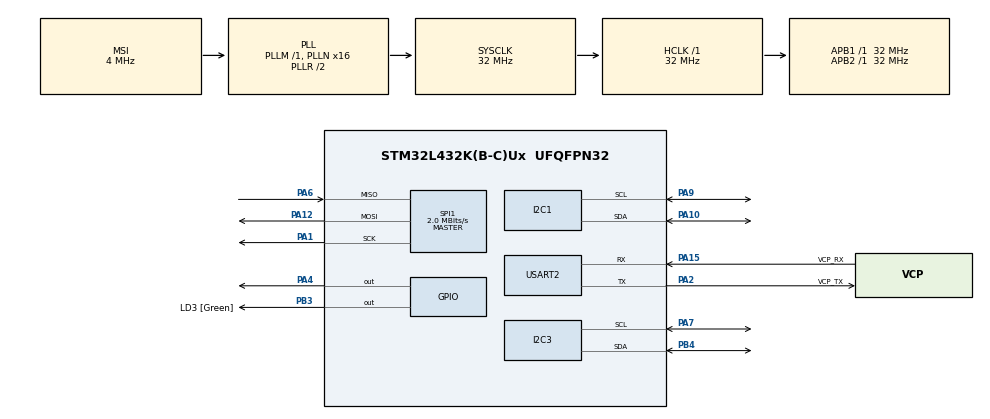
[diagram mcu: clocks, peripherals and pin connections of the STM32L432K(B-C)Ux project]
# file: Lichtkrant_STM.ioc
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I2C1.Timing=0x00B07CB4
I2C3.Timing=0x00B07CB4
Mcu.Family=STM32L4
Mcu.Name=STM32L432K(B-C)Ux
Mcu.Package=UFQFPN32
NVIC.PriorityGroup=NVIC_PRIORITYGROUP_4
PA0.GPIO_Label=MCO [High speed clock in]
PA0.Mode=HSE-External-Clock-Source-for-LittleOrca
PA0.Signal=RCC_CK_IN
PA1.Mode=Full_Duplex_Master
PA1.Signal=SPI1_SCK
PA10.Mode=I2C
PA10.Signal=I2C1_SDA
PA12.Mode=Full_Duplex_Master
PA12.Signal=SPI1_MOSI
PA13\ (JTMS-SWDIO).GPIO_Label=SWDIO
PA13\ (JTMS-SWDIO).Mode=Serial_Wire
PA13\ (JTMS-SWDIO).Signal=SYS_JTMS-SWDIO
PA14\ (JTCK-SWCLK).GPIO_Label=SWCLK
PA14\ (JTCK-SWCLK).Mode=Serial_Wire
PA14\ (JTCK-SWCLK).Signal=SYS_JTCK-SWCLK
PA15\ (JTDI).GPIO_Label=VCP_RX
PA15\ (JTDI).Mode=Asynchronous
PA15\ (JTDI).Signal=USART2_RX
PA2.GPIO_Label=VCP_TX
PA2.Mode=Asynchronous
PA2.Signal=USART2_TX
PA4.Signal=GPIO_Output
PA6.Mode=Full_Duplex_Master
PA6.Signal=SPI1_MISO
PA7.Mode=I2C
PA7.Signal=I2C3_SCL
PA9.Mode=I2C
PA9.Signal=I2C1_SCL
PB3\ (JTDO-TRACESWO).GPIO_Label=LD3 [Green]
PB3\ (JTDO-TRACESWO).Signal=GPIO_Output
PB4\ (NJTRST).Mode=I2C
PB4\ (NJTRST).Signal=I2C3_SDA
PC14-OSC32_IN\ (PC14).Mode=LSE-External-Oscillator
PC14-OSC32_IN\ (PC14).Signal=RCC_OSC32_IN
PC15-OSC32_OUT\ (PC15).Mode=LSE-External-Oscillator
PC15-OSC32_OUT\ (PC15).Signal=RCC_OSC32_OUT
ProjectManager.HeapSize=0x200
ProjectManager.StackSize=0x400
ProjectManager.TargetToolchain=STM32CubeIDE
RCC.AHBFreq_Value=32000000
RCC.APB1Freq_Value=32000000
RCC.APB1TimFreq_Value=32000000
RCC.APB2Freq_Value=32000000
RCC.APB2TimFreq_Value=32000000
RCC.CortexFreq_Value=32000000
RCC.HCLKFreq_Value=32000000
RCC.HSE_VALUE=8000000
RCC.HSI16_VALUE=16000000
RCC.HSI48_VALUE=48000000
RCC.HSI_VALUE=16000000
RCC.MSI_VALUE=4000000
RCC.PLLMUL=RCC_PLLMUL_4
RCC.PLLN=16
RCC.SYSCLKFreq_VALUE=32000000
RCC.SYSCLKSource=RCC_SYSCLKSOURCE_PLLCLK
RCC.VCOOutputFreq_Value=64000000
SPI1.BaudRatePrescaler=SPI_BAUDRATEPRESCALER_16
SPI1.CalculateBaudRate=2.0 MBits/s
SPI1.DataSize=SPI_DATASIZE_8BIT
SPI1.Direction=SPI_DIRECTION_2LINES
SPI1.Mode=SPI_MODE_MASTER
SPI1.VirtualType=VM_MASTER
USART2.VirtualMode-Asynchronous=VM_ASYNC
board=NUCLEO-L432KC

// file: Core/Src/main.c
/* USER CODE BEGIN Header */
/**
  ******************************************************************************
  * @file           : main.c
  * @brief          : Main program body
  ******************************************************************************
  * @attention
  *
  * Copyright (c) 2025 STMicroelectronics.
  * All rights reserved.
  *
  * This software is licensed under terms that can be found in the LICENSE file
  * in the root directory of this software component.
  * If no LICENSE file comes with this software, it is provided AS-IS.
  *
  ******************************************************************************
  */
/* USER CODE END Header */
#include "main.h"

/* USER CODE BEGIN Includes */
#include "lichtkrant.h"
#include "SHT3X.h"
#include <stdio.h>
/* USER CODE END Includes */

I2C_HandleTypeDef hi2c1;
I2C_HandleTypeDef hi2c3;

SPI_HandleTypeDef hspi1;

UART_HandleTypeDef huart2;

void SystemClock_Config(void);
static void MX_GPIO_Init(void);
static void MX_USART2_UART_Init(void);
static void MX_I2C1_Init(void);
static void MX_I2C3_Init(void);
static void MX_SPI1_Init(void);

/* USER CODE BEGIN 0 */
static const char menuDag[] = "";
/* USER CODE END 0 */

int main(void)
{

  /* MCU Configuration--------------------------------------------------------*/

  /* Reset of all peripherals, Initializes the Flash interface and the Systick. */
  HAL_Init();

  /* Configure the system clock */
  SystemClock_Config();

  /* Initialize all configured peripherals */
  MX_GPIO_Init();
  MX_USART2_UART_Init();
  MX_I2C1_Init();
  MX_I2C3_Init();
  MX_SPI1_Init();
  /* USER CODE BEGIN 2 */
  Lichtkrant_Initcascade();

  // Zet display-test definitief uit en normal operation
  Lichtkrant_SendAll(0x0F, 0x00);  // test off
  Lichtkrant_SendAll(0x0C, 0x01);  // normal op
  // Clear rijen 1 t/m 8
  for (uint8_t r = 1; r <= 8; r++) {
	  Lichtkrant_SendAll(r, 0x00);
  }
  HAL_Delay(500);

  // Stuur nu slechts rij 1 vol (alle LEDs aan) als test
  Lichtkrant_SendAll(1, 0xFF);
  for (uint8_t r = 2; r <= 8; r++) {
	  Lichtkrant_SendAll(r, 0x00);
  }

  uint8_t scrollCols[256];
  int len;
  float temperatuur, luchtvochtigheid;
  char buf[512];

  char tempStr[8], humStr[8];
  floatToStr1(temperatuur, tempStr);
  floatToStr1(luchtvochtigheid, humStr);
  buildScrollBufferFromString("    Welkom gebruiker", scrollCols, &len);
    scrollBuffer32(scrollCols, len, 50);
  /* USER CODE END 2 */

  /* Infinite loop */
  /* USER CODE BEGIN WHILE */
  while (1)
  {

	  if (SHT3X_Read(&hi2c3, &temperatuur, &luchtvochtigheid) == HAL_OK) {
      sprintf(buf, "    %s -- Temp: %sC, LV: %s%% ", menuDag, tempStr, humStr);
      buildScrollBufferFromString(buf, scrollCols, &len);
      scrollBuffer32(scrollCols, len, 50);

      } else {
        buildScrollBufferFromString("ERROR ", scrollCols, &len);
          scrollBuffer32(scrollCols, len, 200);
      }
    /* USER CODE END WHILE */

  }
}

void SystemClock_Config(void)
{
  RCC_OscInitTypeDef RCC_OscInitStruct = {0};
  RCC_ClkInitTypeDef RCC_ClkInitStruct = {0};

  /** Configure the main internal regulator output voltage
  */
  if (HAL_PWREx_ControlVoltageScaling(PWR_REGULATOR_VOLTAGE_SCALE1) != HAL_OK)
  {
    Error_Handler();
  }

  /** Configure LSE Drive Capability
  */
  HAL_PWR_EnableBkUpAccess();
  __HAL_RCC_LSEDRIVE_CONFIG(RCC_LSEDRIVE_LOW);

  /** Initializes the RCC Oscillators according to the specified parameters
  * in the RCC_OscInitTypeDef structure.
  */
  RCC_OscInitStruct.OscillatorType = RCC_OSCILLATORTYPE_LSE|RCC_OSCILLATORTYPE_MSI;
  RCC_OscInitStruct.LSEState = RCC_LSE_ON;
  RCC_OscInitStruct.MSIState = RCC_MSI_ON;
  RCC_OscInitStruct.MSICalibrationValue = 0;
  RCC_OscInitStruct.MSIClockRange = RCC_MSIRANGE_6;
  RCC_OscInitStruct.PLL.PLLState = RCC_PLL_ON;
  RCC_OscInitStruct.PLL.PLLSource = RCC_PLLSOURCE_MSI;
  RCC_OscInitStruct.PLL.PLLM = 1;
  RCC_OscInitStruct.PLL.PLLN = 16;
  RCC_OscInitStruct.PLL.PLLP = RCC_PLLP_DIV7;
  RCC_OscInitStruct.PLL.PLLQ = RCC_PLLQ_DIV2;
  RCC_OscInitStruct.PLL.PLLR = RCC_PLLR_DIV2;
  if (HAL_RCC_OscConfig(&RCC_OscInitStruct) != HAL_OK)
  {
    Error_Handler();
  }

  /** Initializes the CPU, AHB and APB buses clocks
  */
  RCC_ClkInitStruct.ClockType = RCC_CLOCKTYPE_HCLK|RCC_CLOCKTYPE_SYSCLK
                              |RCC_CLOCKTYPE_PCLK1|RCC_CLOCKTYPE_PCLK2;
  RCC_ClkInitStruct.SYSCLKSource = RCC_SYSCLKSOURCE_PLLCLK;
  RCC_ClkInitStruct.AHBCLKDivider = RCC_SYSCLK_DIV1;
  RCC_ClkInitStruct.APB1CLKDivider = RCC_HCLK_DIV1;
  RCC_ClkInitStruct.APB2CLKDivider = RCC_HCLK_DIV1;

  if (HAL_RCC_ClockConfig(&RCC_ClkInitStruct, FLASH_LATENCY_1) != HAL_OK)
  {
    Error_Handler();
  }

  /** Enable MSI Auto calibration
  */
  HAL_RCCEx_EnableMSIPLLMode();
}

static void MX_I2C1_Init(void)
{

  hi2c1.Instance = I2C1;
  hi2c1.Init.Timing = 0x00B07CB4;
  hi2c1.Init.OwnAddress1 = 0;
  hi2c1.Init.AddressingMode = I2C_ADDRESSINGMODE_7BIT;
  hi2c1.Init.DualAddressMode = I2C_DUALADDRESS_DISABLE;
  hi2c1.Init.OwnAddress2 = 0;
  hi2c1.Init.OwnAddress2Masks = I2C_OA2_NOMASK;
  hi2c1.Init.GeneralCallMode = I2C_GENERALCALL_DISABLE;
  hi2c1.Init.NoStretchMode = I2C_NOSTRETCH_DISABLE;
  if (HAL_I2C_Init(&hi2c1) != HAL_OK)
  {
    Error_Handler();
  }

  /** Configure Analogue filter
  */
  if (HAL_I2CEx_ConfigAnalogFilter(&hi2c1, I2C_ANALOGFILTER_ENABLE) != HAL_OK)
  {
    Error_Handler();
  }

  /** Configure Digital filter
  */
  if (HAL_I2CEx_ConfigDigitalFilter(&hi2c1, 0) != HAL_OK)
  {
    Error_Handler();
  }

}

static void MX_I2C3_Init(void)
{

  hi2c3.Instance = I2C3;
  hi2c3.Init.Timing = 0x00B07CB4;
  hi2c3.Init.OwnAddress1 = 0;
  hi2c3.Init.AddressingMode = I2C_ADDRESSINGMODE_7BIT;
  hi2c3.Init.DualAddressMode = I2C_DUALADDRESS_DISABLE;
  hi2c3.Init.OwnAddress2 = 0;
  hi2c3.Init.OwnAddress2Masks = I2C_OA2_NOMASK;
  hi2c3.Init.GeneralCallMode = I2C_GENERALCALL_DISABLE;
  hi2c3.Init.NoStretchMode = I2C_NOSTRETCH_DISABLE;
  if (HAL_I2C_Init(&hi2c3) != HAL_OK)
  {
    Error_Handler();
  }

  /** Configure Analogue filter
  */
  if (HAL_I2CEx_ConfigAnalogFilter(&hi2c3, I2C_ANALOGFILTER_ENABLE) != HAL_OK)
  {
    Error_Handler();
  }

  /** Configure Digital filter
  */
  if (HAL_I2CEx_ConfigDigitalFilter(&hi2c3, 0) != HAL_OK)
  {
    Error_Handler();
  }

}

static void MX_SPI1_Init(void)
{

  /* SPI1 parameter configuration*/
  hspi1.Instance = SPI1;
  hspi1.Init.Mode = SPI_MODE_MASTER;
  hspi1.Init.Direction = SPI_DIRECTION_2LINES;
  hspi1.Init.DataSize = SPI_DATASIZE_8BIT;
  hspi1.Init.CLKPolarity = SPI_POLARITY_LOW;
  hspi1.Init.CLKPhase = SPI_PHASE_1EDGE;
  hspi1.Init.NSS = SPI_NSS_SOFT;
  hspi1.Init.BaudRatePrescaler = SPI_BAUDRATEPRESCALER_16;
  hspi1.Init.FirstBit = SPI_FIRSTBIT_MSB;
  hspi1.Init.TIMode = SPI_TIMODE_DISABLE;
  hspi1.Init.CRCCalculation = SPI_CRCCALCULATION_DISABLE;
  hspi1.Init.CRCPolynomial = 7;
  hspi1.Init.CRCLength = SPI_CRC_LENGTH_DATASIZE;
  hspi1.Init.NSSPMode = SPI_NSS_PULSE_ENABLE;
  if (HAL_SPI_Init(&hspi1) != HAL_OK)
  {
    Error_Handler();
  }

}

static void MX_USART2_UART_Init(void)
{

  huart2.Instance = USART2;
  huart2.Init.BaudRate = 115200;
  huart2.Init.WordLength = UART_WORDLENGTH_8B;
  huart2.Init.StopBits = UART_STOPBITS_1;
  huart2.Init.Parity = UART_PARITY_NONE;
  huart2.Init.Mode = UART_MODE_TX_RX;
  huart2.Init.HwFlowCtl = UART_HWCONTROL_NONE;
  huart2.Init.OverSampling = UART_OVERSAMPLING_16;
  huart2.Init.OneBitSampling = UART_ONE_BIT_SAMPLE_DISABLE;
  huart2.AdvancedInit.AdvFeatureInit = UART_ADVFEATURE_NO_INIT;
  if (HAL_UART_Init(&huart2) != HAL_OK)
  {
    Error_Handler();
  }

}

static void MX_GPIO_Init(void)
{
  GPIO_InitTypeDef GPIO_InitStruct = {0};

  /* GPIO Ports Clock Enable */
  __HAL_RCC_GPIOC_CLK_ENABLE();
  __HAL_RCC_GPIOA_CLK_ENABLE();
  __HAL_RCC_GPIOB_CLK_ENABLE();

  /*Configure GPIO pin Output Level */
  HAL_GPIO_WritePin(GPIOA, GPIO_PIN_4, GPIO_PIN_RESET);

  /*Configure GPIO pin Output Level */
  HAL_GPIO_WritePin(LD3_GPIO_Port, LD3_Pin, GPIO_PIN_RESET);

  /*Configure GPIO pin : PA4 */
  GPIO_InitStruct.Pin = GPIO_PIN_4;
  GPIO_InitStruct.Mode = GPIO_MODE_OUTPUT_PP;
  GPIO_InitStruct.Pull = GPIO_NOPULL;
  GPIO_InitStruct.Speed = GPIO_SPEED_FREQ_LOW;
  HAL_GPIO_Init(GPIOA, &GPIO_InitStruct);

  /*Configure GPIO pin : LD3_Pin */
  GPIO_InitStruct.Pin = LD3_Pin;
  GPIO_InitStruct.Mode = GPIO_MODE_OUTPUT_PP;
  GPIO_InitStruct.Pull = GPIO_NOPULL;
  GPIO_InitStruct.Speed = GPIO_SPEED_FREQ_LOW;
  HAL_GPIO_Init(LD3_GPIO_Port, &GPIO_InitStruct);

/* USER CODE BEGIN MX_GPIO_Init_2 */
  GPIO_InitStruct.Pin   = GPIO_PIN_1 | GPIO_PIN_12;      // PA1=SCK, PA12=MOSI
  GPIO_InitStruct.Mode  = GPIO_MODE_AF_PP;              // Alternate Function Push-Pull
  GPIO_InitStruct.Pull  = GPIO_NOPULL;
  GPIO_InitStruct.Speed = GPIO_SPEED_FREQ_HIGH;
  GPIO_InitStruct.Alternate = GPIO_AF5_SPI1;            // óf GPIO_AF5_SPI1, zoals CubeMX aangeeft// hogere snelheid voor SPI
  HAL_GPIO_Init(GPIOA, &GPIO_InitStruct);
/* USER CODE END MX_GPIO_Init_2 */
}

/* USER CODE BEGIN 4 */
void floatToStr1(float f, char *buf) {
    int whole = (int)f;                       // 23
    int frac  = (int)((f - whole) * 10.0f);   // 4
    if (frac < 0) frac = -frac;               // bij negatieve floats
    sprintf(buf, "%d.%d", whole, frac);
}
/* USER CODE END 4 */

void Error_Handler(void)
{
  __disable_irq();
  while (1)
  {
  }
}
